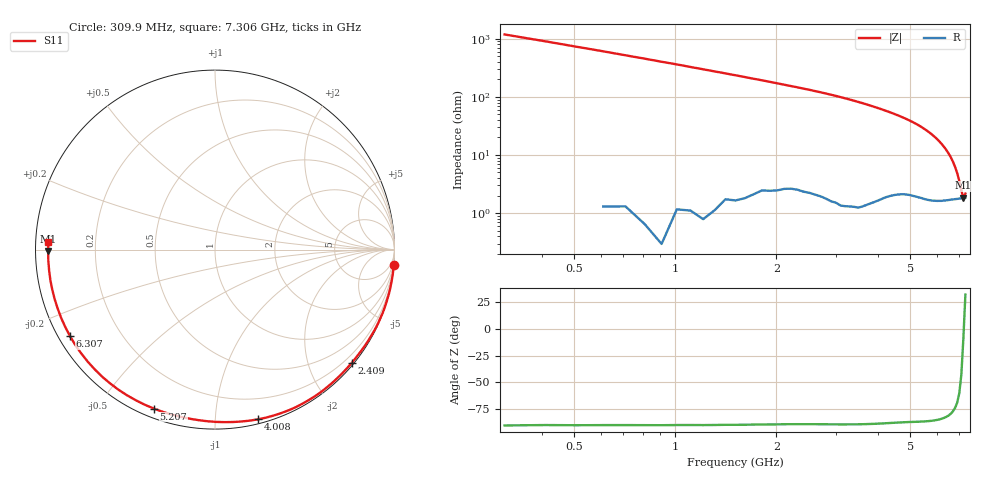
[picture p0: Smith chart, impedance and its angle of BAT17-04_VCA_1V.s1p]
! Infineon Technologies  Discrete & RF Semiconductors
! BAT17-04
! VCA = 1 V
! One-Port S-Parameters
# Hz  S  MA  R  50
!f  S11
!Hz  Mag  Ang
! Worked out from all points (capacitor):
!   71 points, 309.9 MHz to 7.306 GHz, reference 50 ohm
!   read as one part to ground: C = 429 fF near 309.9 MHz
!   lowest |Z| = 1.84 ohm at 7.206 GHz (marker M1)
!   series resonance near 7.226 GHz, so ESL is about 1.1 nH
!   S11 on the Smith chart (normalised r, x): 309.9 MHz: -0, -24; 2.409 GHz: 0.05, -2.77; 4.008 GHz: 0.03, -1.29; 5.207 GHz: 0.04, -0.69; 6.307 GHz: 0.03, -0.28; 7.306 GHz: 0.04, +0.02
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3.0985e8  1 -4.8
8.096e8  0.9997 -12.6
1.2094e9  0.9991 -19.0
1.6092e9  0.9964 -25.7
2.10895e9  0.991 -34.3
2.4088e9  0.9893 -39.7
2.70865e9  0.9886 -45.3
3.0085e9  0.9887 -51.5
3.2084e9  0.9885 -55.9
3.4083e9  0.9871 -60.5
3.6082e9  0.9849 -65.4
3.8081e9  0.9806 -70.5
4.008e9  0.9756 -75.7
4.2079e9  0.9691 -81.1
4.4078e9  0.9629 -86.7
4.70765e9  0.9547 -95.5
5.0075e9  0.9502 -104.6
5.2074e9  0.9489 -111.1
5.4073e9  0.9482 -117.7
5.6072e9  0.948 -124.5
5.8071e9  0.9468 -131.5
6.007e9  0.9448 -138.6
6.30685e9  0.9407 -149.2
6.50675e9  0.9378 -156.1
6.8066e9  0.9337 -166.3
7.0065e9  0.9314 -172.9
7.2064e9  0.9297 -179.3
7.30635e9  0.9289 177.4
